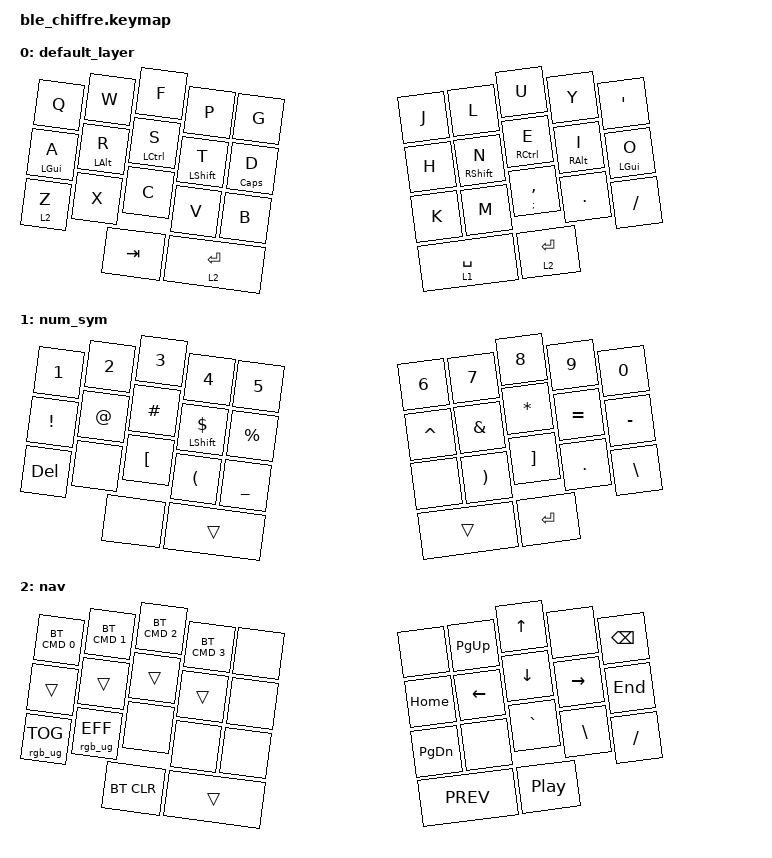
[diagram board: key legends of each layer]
/*
 * Copyright (c) 2020 The ZMK Contributors
 *
 * SPDX-License-Identifier: MIT
 */

#include <behaviors.dtsi>
#include <dt-bindings/zmk/keys.h>
#include <dt-bindings/zmk/bt.h>
#include <dt-bindings/zmk/rgb.h>

/ {
    behaviors {
        rst: boot_reset {
            compatible = "zmk,behavior-hold-tap";
            #binding-cells = <2>;
            tapping-term-ms = <200>;
            flavor = "balanced";
            bindings = <&sys_reset>, <&bootloader>;
        };

        bh: layer_taps {
            compatible = "zmk,behavior-hold-tap";
            #binding-cells = <2>;
            tapping-term-ms = <215>;
            flavor = "tap-preferred";
            bindings = <&mo>, <&kp>;
        };

        hm: homerow_mods0 {
            compatible = "zmk,behavior-hold-tap";
            #binding-cells = <2>;
            tapping-term-ms = <230>;
            flavor = "tap-preferred";
            bindings = <&kp>, <&kp>;
        };

        hm1: homerow_mods1 {
            compatible = "zmk,behavior-hold-tap";
            #binding-cells = <2>;
            tapping-term-ms = <205>;
            flavor = "tap-preferred";
            bindings = <&kp>, <&kp>;
        };

        hm2: homerow_mods2 {
            compatible = "zmk,behavior-hold-tap";
            #binding-cells = <2>;
            tapping-term-ms = <250>;
            flavor = "tap-preferred";
            bindings = <&kp>, <&kp>;
        };

        com_col: comma_semicolon {
            compatible = "zmk,behavior-hold-tap";
            #binding-cells = <2>;
            tapping-term-ms = <150>;
            flavor = "balanced";
            bindings = <&kp>, <&kp>;
        };
     };
};

/ {
    combos {
        compatible = "zmk,combos";
        combo_backspce {
            timeout-ms = <50>;
            key-positions = <8 9>;
            bindings = <&kp BSPC>;
        };
        combo_gesc {
            timeout-ms = <30>;
            key-positions = <0 1>;
            bindings = <&com_col GRAVE ESC>;
        };
        combo_tab {
            timeout-ms = <35>;
            key-positions = <11 12>;
            bindings = <&kp TAB>;
        };
        combo_mnxt {
            timeout-ms = <30>;
            key-positions = <28 29>;
            bindings = <&kp C_NEXT>;
        };
        combo_mprev {
            timeout-ms = <30>;
            key-positions = <27 28>;
            bindings = <&kp C_PREV>;
        };
        combo_mpp {
            timeout-ms = <30>;
            key-positions = <27 29>;
            bindings = <&kp C_PP>;
        };
        combo_del {
            timeout-ms = <40>;
            key-positions = <7 8 9>;
            bindings = <&kp DEL>;
        };
        combo_ent {
            timeout-ms = <30>;
            key-positions = <17 18>;
            bindings = <&kp RET>;
        };
        combo_ent2 {
            timeout-ms = <30>;
            key-positions = <2 3>;
            bindings = <&kp RET>;
        };
    };
};

/ {
    keymap {
        compatible = "zmk,keymap";

        default_layer {
            bindings = <
&kp Q        &kp W       &kp F        &kp P         &kp G          &kp J        &kp L         &kp U                &kp Y       &kp SQT
&hm2 LGUI A  &hm LALT R  &hm LCTRL S  &hm1 LSHFT T  &hm2 CLCK D    &kp H        &hm1 RSHFT N  &hm RCTRL E          &hm RALT I  &hm2 LGUI O
&bh 2 Z      &kp X       &kp C        &kp V         &kp B          &kp K        &kp M         &com_col SEMI COMMA  &kp DOT     &kp FSLH
                                      &kp TAB       &bh 2 RET      &bh 1 SPACE  &bh 2 RET
            >;
        };

        num_sym {
            bindings = <
&kp N1    &kp N2  &kp N3     &kp N4          &kp N5       &kp N6     &kp N7    &kp N8    &kp N9     &kp N0
&kp EXCL  &kp AT  &kp POUND  &hm LSHFT DLLR  &kp PRCNT    &kp CARET  &kp AMPS  &kp STAR  &kp EQUAL  &kp MINUS
&kp DEL   &none   &kp LBKT   &kp LPAR        &kp UNDER    &none      &kp RPAR  &kp RBKT  &kp DOT    &kp BSLH
                             &none           &trans       &trans     &kp RET
            >;
        };

        nav {
            bindings = <
&bt BT_SEL_CMD 0  &bt BT_SEL_CMD 1  &bt BT_SEL_CMD 2  &bt BT_SEL_CMD 3  &none     &none       &kp PG_UP  &kp UP     &none      &kp BSPC
&trans            &trans            &trans            &trans            &none     &kp HOME    &kp LEFT   &kp DOWN   &kp RIGHT  &kp END
&rgb_ug RGB_TOG   &rgb_ug RGB_EFF   &none             &none             &none     &kp PG_DN   &none      &kp GRAVE  &kp BSLH   &kp FSLH
                                                      &bt BT_CLR        &trans    &kp C_PREV  &kp C_PP
            >;
        };
    };
};
